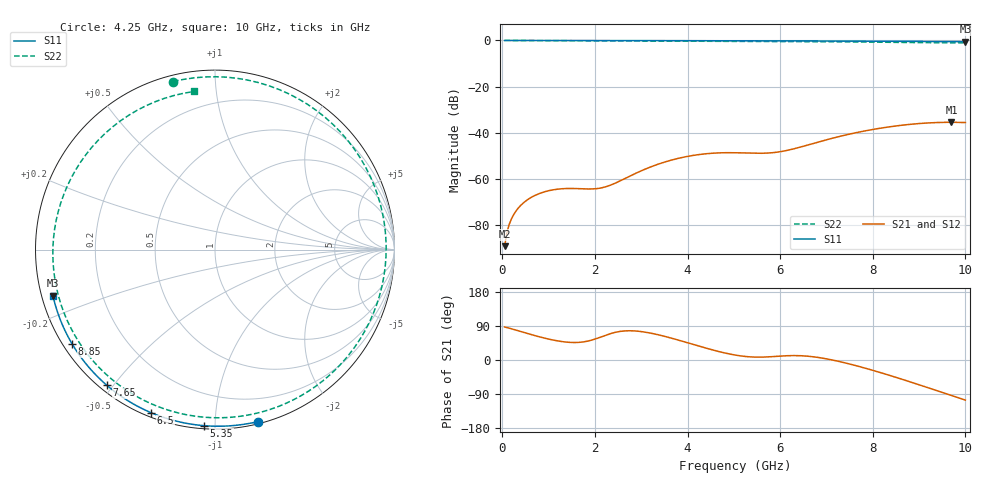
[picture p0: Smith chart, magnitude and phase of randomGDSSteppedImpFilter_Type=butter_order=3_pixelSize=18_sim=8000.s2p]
! freq	dB(S11)	phase(S11)	dB(S12)	phase(S12)
!  dB(S21)	phase(S21)	dB(S22)	phase(S22)
!S-par simulation data
#  GHz  S  DB  R 50
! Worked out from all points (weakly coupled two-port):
!   200 points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, 50 MHz to 10 GHz, reference 50 ohm
!   highest |S21| = -35.50 dB at 9.7 GHz (marker M1); lowest = -89.2 dB at 50 MHz (marker M2)
!   lowest |S11| = -0.5 dB at 10 GHz (marker M3), VSWR 31.64, Z = 1.61 - j6.96 ohm
!   |S11| at or under -10 dB: nowhere
!   |S22| runs from -1.0 to 0.0 dB; largest |S21 - S12| = 0
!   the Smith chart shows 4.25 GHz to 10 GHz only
!   S11 on the Smith chart (normalised r, x): 4.25 GHz: 0.02, -1.28; 5.35 GHz: 0.02, -0.94; 6.5 GHz: 0.02, -0.68; 7.65 GHz: 0.02, -0.48; 8.85 GHz: 0.03, -0.30; 10 GHz: 0.03, -0.14
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0.05  -0.00 -1.0  -89.21 87.1  -89.21 87.1  -0.01 -3.0
0.15  -0.00 -2.8  -79.75 84.0  -79.75 84.0  -0.02 -8.9
0.7  -0.01 -13.2  -67.26 64.4  -67.26 64.4  -0.05 -41.2
1.25  -0.03 -23.4  -64.38 49.3  -64.38 49.3  -0.09 -72.9
1.75  -0.04 -32.5  -64.35 47.7  -64.35 47.7  -0.12 -101.5
2.65  -0.06 -48.6  -59.86 76.8  -59.86 76.8  -0.18 -153.3
3.4  -0.08 -61.6  -53.42 65.6  -53.42 65.6  -0.24 161.0
3.8  -0.09 -68.4  -51.13 52.6  -51.13 52.6  -0.27 134.9
4.25  -0.11 -75.9  -49.48 36.6  -49.48 36.6  -0.31 104.0
4.65  -0.12 -82.4  -48.78 23.1  -48.78 23.1  -0.34 75.5
5.05  -0.14 -88.8  -48.71 12.6  -48.71 12.6  -0.37 46.6
5.35  -0.15 -93.6  -48.88 8.3  -48.88 8.3  -0.39 25.1
5.9  -0.18 -102.1  -48.53 9.5  -48.53 9.5  -0.42 -12.6
6.5  -0.21 -111.3  -45.89 10.9  -45.89 10.9  -0.48 -50.5
6.7  -0.22 -114.3  -44.75 8.7  -44.75 8.7  -0.50 -62.4
7.15  -0.26 -121.1  -42.28 -0.6  -42.28 -0.6  -0.56 -88.2
7.65  -0.29 -128.6  -39.95 -15.3  -39.95 -15.3  -0.65 -115.8
8.35  -0.36 -139.0  -37.49 -40.0  -37.49 -40.0  -0.79 -154.7
8.85  -0.41 -146.5  -36.30 -59.4  -36.30 -59.4  -0.90 175.7
9.25  -0.46 -152.6  -35.71 -75.5  -35.71 -75.5  -0.97 150.2
9.7  -0.51 -159.5  -35.50 -93.8  -35.50 -93.8  -1.02 119.2
10  -0.55 -164.1  -35.61 -105.7  -35.61 -105.7  -1.03 97.4
